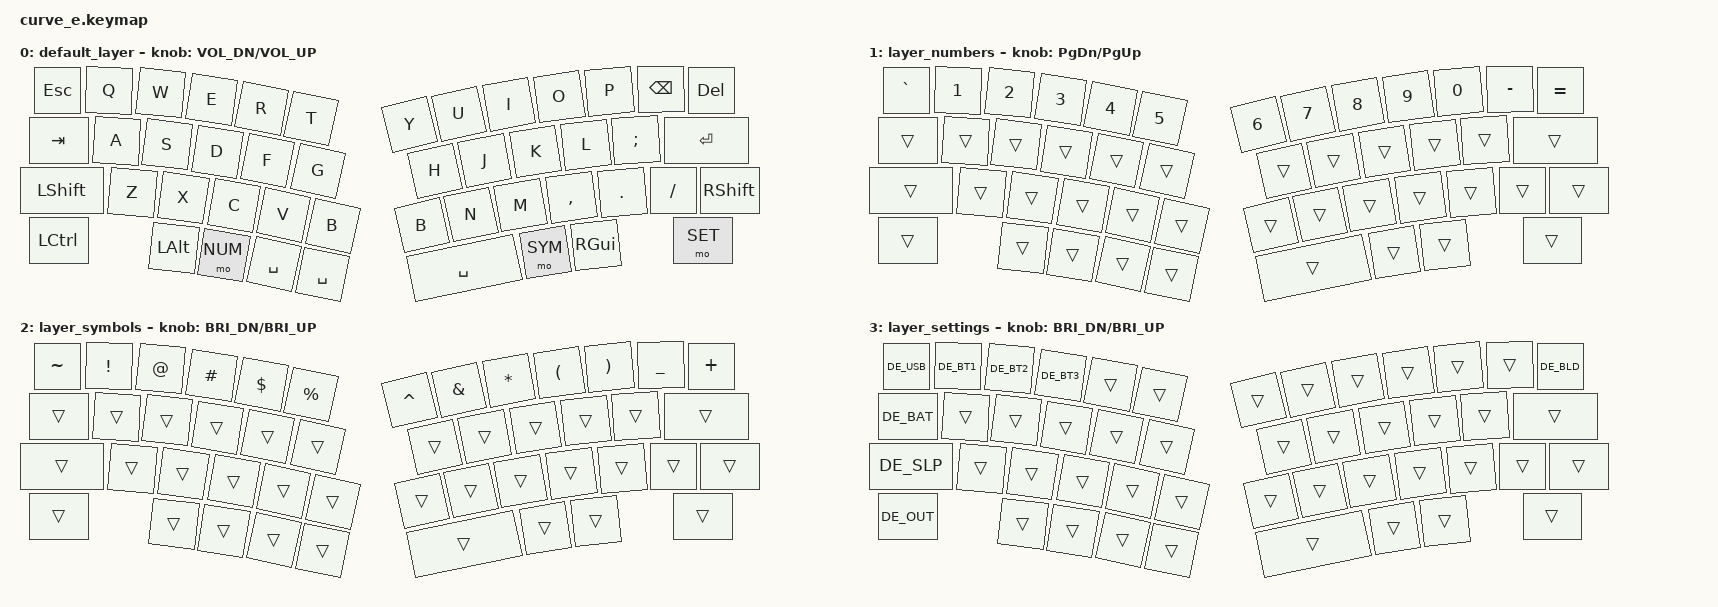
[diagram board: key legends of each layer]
/*
# Copyright (c) 2021 The ZMK Contributors
*
* SPDX-License-Identifier: MIT
*/

#include "common.keymap"

#define NUM 1
#define SYM 2
#define SET 3


/ {

	keymap {
		compatible = "zmk,keymap";

		default_layer {
			bindings = <
    &kp ESC   &kp Q     &kp W     &kp E     &kp R     &kp T     &kp Y     &kp U     &kp I     &kp O     &kp P     &kp BSPC  &kp DEL
    &kp TAB   &kp A     &kp S     &kp D     &kp F     &kp G     &kp H     &kp J     &kp K     &kp L     &kp SEMI            &kp ENTER   
    &kp LSHFT &kp Z     &kp X     &kp C     &kp V     &kp B     &kp B     &kp N     &kp M     &kp COMMA &kp DOT   &kp FSLH  &kp RSHFT
    &kp LCTRL    	    &kp LALT  &mo NUM   &kp SPACE &kp SPACE &kp SPACE           &mo SYM   &kp RGUI            &mo SET
			>;
            sensor-bindings = <&inc_dec_kp C_VOL_DN C_VOL_UP>;
		};

		layer_numbers {
			bindings = <
    &kp GRAVE &kp N1    &kp N2    &kp N3    &kp N4    &kp N5    &kp N6    &kp N7    &kp N8    &kp N9    &kp N0    &kp MINUS &kp EQUAL
    &trans    &trans    &trans    &trans    &trans    &trans    &trans    &trans    &trans    &trans    &trans     	        &trans   
    &trans    &trans    &trans    &trans    &trans    &trans    &trans    &trans    &trans    &trans    &trans    &trans	&trans
    &trans    		    &trans    &trans    &trans    &trans    &trans              &trans    &trans              &trans
			>;
            sensor-bindings = <&inc_dec_kp PG_DN PG_UP>;
		};

		layer_symbols {
			bindings = <
    &kp TILDE &kp EXCL  &kp AT    &kp HASH  &kp DLLR  &kp PRCNT &kp CARET &kp AMPS  &kp STAR  &kp LPAR  &kp RPAR  &kp UNDER &kp PLUS
    &trans    &trans    &trans    &trans    &trans    &trans    &trans    &trans    &trans    &trans    &trans     	        &trans   
    &trans    &trans    &trans    &trans    &trans    &trans    &trans    &trans    &trans    &trans    &trans    &trans	&trans
    &trans    		    &trans    &trans    &trans    &trans    &trans              &trans    &trans              &trans
			>;
            sensor-bindings = <&inc_dec_kp C_BRI_DN C_BRI_UP>;
		};

		layer_settings {
			bindings = <
    &DE_USB   &DE_BT1   &DE_BT2   &DE_BT3   &trans    &trans    &trans    &trans    &trans    &trans    &trans    &trans    &DE_BLD  
    &DE_BAT   &trans    &trans    &trans    &trans    &trans    &trans    &trans    &trans    &trans    &trans     	        &trans   
    &DE_SLP   &trans    &trans    &trans    &trans    &trans    &trans    &trans    &trans    &trans    &trans    &trans	&trans
    &DE_OUT    		    &trans    &trans    &trans    &trans    &trans              &trans    &trans              &trans
			>;
            sensor-bindings = <&inc_dec_kp C_BRI_DN C_BRI_UP>;
		};
	};
};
